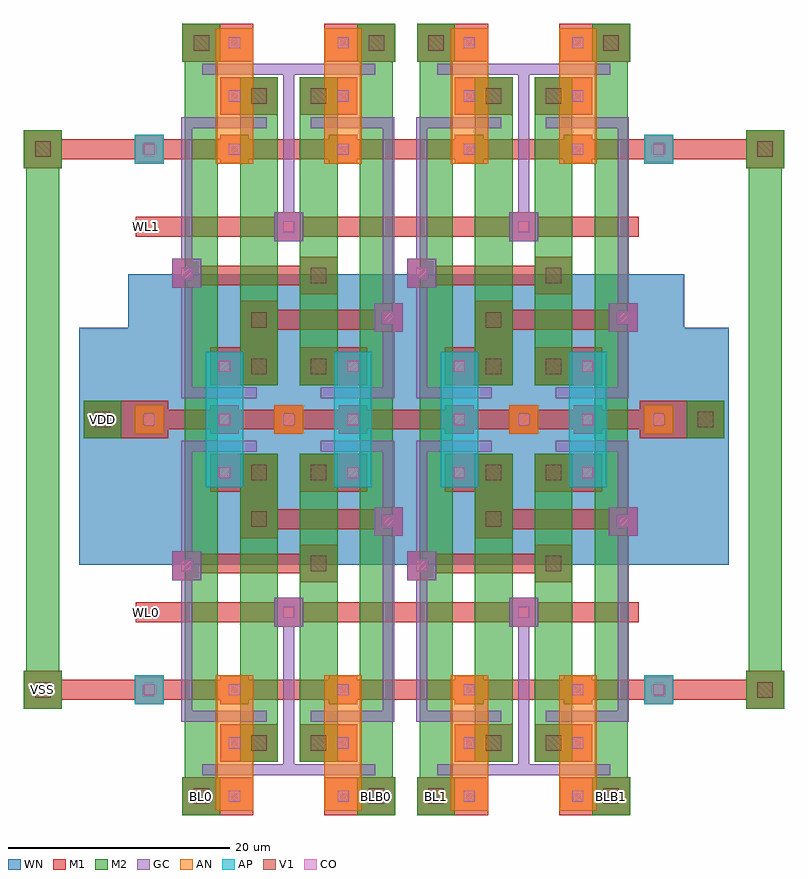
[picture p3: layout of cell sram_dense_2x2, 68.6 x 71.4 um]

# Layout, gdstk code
import gdstk
lib = gdstk.Library(unit=1e-6, precision=1e-07)
def R(c, l, rs):  # rectangles x0, y0, x1, y1
    for r in rs: c.add(gdstk.rectangle(r[:2], r[2:], *l))
def A(c, l, x, y, w, h, nx, ny, dx, dy):  # array of equal rectangles
    R(c, l, [(x+i*dx, y+j*dy, x+i*dx+w, y+j*dy+h) for i in range(nx) for j in range(ny)])
AP = (3, 1)
AN = (3, 2)
GC = (8, 1)
CO = (11, 0)
M1 = (13, 0)
V1 = (19, 0)
M2 = (20, 0)
WN = (140, 0)

sram_dense = lib.new_cell('sram_dense')
R(sram_dense, AP, [(3.3,27.9,6.7,35.3), (14.9,27.9,18.3,35.3)])
R(sram_dense, AN, [(4.2,-1.3,7.6,10.9), (14,-1.3,17.4,10.9), (9.5,32.7,12.1,35.3)])
R(sram_dense, GC, [(3,1.9,8.8,2.9), (5.4,1.9,16.2,2.9), (10.3,1.9,11.3,17.1), (12.8,1.9,18.6,2.9), (1.1,6.7,6.4,7.7), (1.1,6.7,2.1,32.1), (3,6.7,8.8,7.7), (12.8,6.7,18.6,7.7), (15.2,6.7,20.3,7.7), (19.3,6.7,20.3,32.1), (9.5,15.3,12.1,17.9), (0.3,19.5,2.9,22.1), (18.5,23.5,21.1,26.1), (1.1,31.1,5.5,32.1), (2.1,31.1,7.9,32.1), (13.7,31.1,19.5,32.1), (16.1,31.1,20.3,32.1)])
A(sram_dense, CO, 5.4, -0.5, 1, 1, 1, 3, 0, 4.8)
A(sram_dense, CO, 15.2, -0.5, 1, 1, 1, 3, 0, 4.8)
A(sram_dense, CO, 4.5, 33.5, 1, 1, 3, 1, 5.8, 0)
R(sram_dense, CO, [(10.3,16.1,11.3,17.1), (1.1,20.3,2.1,21.3), (19.3,24.3,20.3,25.3), (4.5,28.7,5.5,29.7), (16.1,28.7,17.1,29.7)])
A(sram_dense, M1, 4.6, -1.3, 2.6, 2.6, 1, 3, 0, 4.8)
A(sram_dense, M1, 14.4, -1.3, 2.6, 2.6, 1, 3, 0, 4.8)
A(sram_dense, M1, 3.7, 32.7, 2.6, 2.6, 3, 1, 5.8, 0)
R(sram_dense, M1, [(1.2,-1.7,7.6,1.7), (1.2,-1.7,4.6,1.7), (14,-1.7,20.4,1.7), (17,-1.7,20.4,1.7), (4.6,3.1,9.4,6.5), (6.4,3.1,9.8,6.5), (11.8,3.1,15.2,6.5), (12.2,3.1,17,6.5), (0,8.7,21.2,10.5), (9.5,15.3,12.1,17.9), (0,15.7,21.2,17.5), (11.8,19.3,15.2,22.7), (0.3,19.5,2.9,22.1), (0.7,20.1,14.4,21.9), (6.4,23.3,9.8,26.7), (6.4,23.3,9.8,30.9), (18.5,23.5,21.1,26.1), (7.2,24.1,20.7,25.9), (3.7,27.5,9.4,30.9), (6.4,27.5,9.8,30.9), (11.8,27.5,15.2,30.9), (12.2,27.5,17.9,30.9), (3.7,27.9,6.3,30.5), (15.3,27.9,17.9,30.5), (0,33.1,21.2,34.9)])
R(sram_dense, V1, [(2.2,-0.7,3.6,0.7), (18,-0.7,19.4,0.7), (7.4,4.1,8.8,5.5), (12.8,4.1,14.2,5.5), (12.8,20.3,14.2,21.7), (7.4,24.3,8.8,25.7), (7.4,28.5,8.8,29.9), (12.8,28.5,14.2,29.9)])
R(sram_dense, M2, [(1.2,-1.7,4.6,1.7), (1.4,-1.7,4.4,34), (17,-1.7,20.4,1.7), (17.2,-1.7,20.2,34), (6.4,3.1,9.8,6.5), (6.4,3.1,9.8,30.9), (11.8,3.1,15.2,6.5), (11.8,3.1,15.2,30.9), (11.8,19.3,15.2,22.7), (6.4,23.3,9.8,26.7), (6.4,27.5,9.8,30.9), (11.8,27.5,15.2,30.9)])
R(sram_dense, WN, [(-3.7,20.9,25.3,42.3)])

sram_dense_2x2 = lib.new_cell('sram_dense_2x2')
R(sram_dense_2x2, AP, [(-3.1,8.3,-0.5,10.9), (42.9,8.3,45.5,10.9), (-3.1,57.1,-0.5,59.7), (42.9,57.1,45.5,59.7)])
R(sram_dense_2x2, AN, [(-3.1,32.7,-0.5,35.3), (42.9,32.7,45.5,35.3)])
A(sram_dense_2x2, CO, -2.3, 9.1, 1, 1, 1, 3, 0, 24.4)
A(sram_dense_2x2, CO, 43.7, 9.1, 1, 1, 1, 3, 0, 24.4)
A(sram_dense_2x2, M1, -3.1, 8.3, 2.6, 2.6, 1, 3, 0, 24.4)
A(sram_dense_2x2, M1, 42.9, 8.3, 2.6, 2.6, 1, 3, 0, 24.4)
A(sram_dense_2x2, M1, 0, 8.7, 42.4, 1.8, 1, 3, 0, 24.4)
R(sram_dense_2x2, M1, [(-13.1,7.9,-9.7,11.3), (52.1,7.9,55.5,11.3), (-12.3,8.7,0.9,10.5), (41.5,8.7,54.7,10.5), (-3,15.7,42.4,17.5), (-7.7,32.3,-0.1,35.7), (-7.7,32.3,-4.3,35.7), (42.5,32.3,50.1,35.7), (46.7,32.3,50.1,35.7), (-2.7,33.1,0.9,34.9), (41.5,33.1,45.1,34.9), (-3,50.5,42.4,52.3), (-13.1,56.7,-9.7,60.1), (52.1,56.7,55.5,60.1), (-12.3,57.5,0.9,59.3), (41.5,57.5,54.7,59.3)])
R(sram_dense_2x2, V1, [(-12.1,8.9,-10.7,10.3), (53.1,8.9,54.5,10.3), (-6.7,33.3,-5.3,34.7), (47.7,33.3,49.1,34.7), (-12.1,57.7,-10.7,59.1), (53.1,57.7,54.5,59.1)])
R(sram_dense_2x2, M2, [(-13.1,7.9,-9.7,11.3), (-12.9,7.9,-9.9,60.1), (52.1,7.9,55.5,11.3), (52.3,7.9,55.3,60.1), (-7.7,32.3,-4.3,35.7), (-7.5,32.3,-4.5,35.7), (46.7,32.3,50.1,35.7), (46.9,32.3,49.9,35.7), (-13.1,56.7,-9.7,60.1), (52.1,56.7,55.5,60.1)])
R(sram_dense_2x2, WN, [(-8.1,20.9,42.4,42.3), (0,20.9,50.5,42.3)])
r = gdstk.Reference(sram_dense, (0,0)); r.repetition = gdstk.Repetition(2, 1, v1=(21.2,0), v2=(0,0)); sram_dense_2x2.add(r)
r = gdstk.Reference(sram_dense, (0,68), x_reflection=True); r.repetition = gdstk.Repetition(2, 1, v1=(21.2,0), v2=(0,0)); sram_dense_2x2.add(r)
sram_dense_2x2.add(gdstk.Label('WL0', (-2,16.6), layer=48, texttype=0))
sram_dense_2x2.add(gdstk.Label('WL1', (-2,51.4), layer=48, texttype=0))
sram_dense_2x2.add(gdstk.Label('VDD', (-6,34), layer=49, texttype=0))
sram_dense_2x2.add(gdstk.Label('VSS', (-11.4,9.6), layer=49, texttype=0))
sram_dense_2x2.add(gdstk.Label('BL0', (2.9,0), layer=49, texttype=0))
sram_dense_2x2.add(gdstk.Label('BLB0', (18.7,0), layer=49, texttype=0))
sram_dense_2x2.add(gdstk.Label('BL1', (24.1,0), layer=49, texttype=0))
sram_dense_2x2.add(gdstk.Label('BLB1', (39.9,0), layer=49, texttype=0))

lib.write_gds('sram_dense_2x2.gds')
